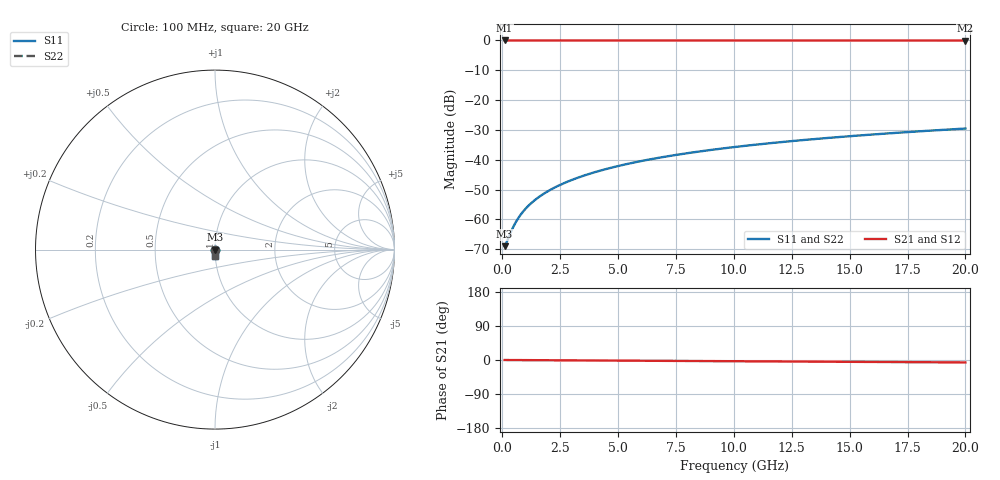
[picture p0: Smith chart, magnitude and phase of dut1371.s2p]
! Touchstone file exported from HFSS 2026.1.0
!  File:  C:/ffzhzh/LocalFiles/Ansys_Project_Files/temp_train_TSV_1371_1783196262_51560.aedt
!  Generated:  04:19:06 AM Jul  5, 2026
!  Design:  TSV
!  Project:  temp_train_TSV_1371_1783196262_51560
! Variables:
!  h_bsmrdl = 2um
!  h_ox = 20um
!  h_rdl = 5um
!  h_sub = 66.02um
!  h_tmrdl = 5um
!  h_tsv = 66.02um
!  h_via = 3um
!  l_bsmrdl = 300um
!  l_sub = 410.1um
!  l_tmrdl = 200um
!  m_sub = 200um
!  pitch = 15.46um
!  r_tsv = 5.05um
!  s_tmrdl = 10um
!  w_bsmrdl = 18um
!  w_sub = 500um
!  w_tmrdl = 12um
!  x_tsv_center1 = 206um
!  x_tsv_center2 = 524um
!  x_tsv_center3 = 736um
!  x_tsv_center4 = 1054um
!  x_tsv_center5 = 1266um
!  x_tsv_center6 = 1584um
# GHz S MA R 50.000000
! Terminal data exported
! Port[1] = TSV1_1_T1
! Port[2] = TSV1_1_T2
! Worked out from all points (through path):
!   200 points, 100 MHz to 20 GHz, reference 50 ohm
!   highest |S21| = 0.00 dB at 100 MHz (marker M1); lowest = 0.0 dB at 20 GHz (marker M2)
!   lowest |S11| = -69.0 dB at 100 MHz (marker M3), VSWR 1.00, Z = 50 - j0.0105 ohm
!   |S11| at or under -10 dB: start of sweep to end of sweep
!   |S22| runs from -69.0 to -29.5 dB; largest |S21 - S12| = 4.1e-15
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0.1  0.0003563 -17.1  0.9997 -0.0  0.9997 -0.0  0.0003563 -17.1
! Gamma 0 0 0 0
! Port Impedance 50 0 50 0
0.2  0.0004275 -31.2  0.9996 -0.1  0.9996 -0.1  0.0004275 -31.2
0.4  0.0006514 -49.4  0.9996 -0.1  0.9996 -0.1  0.0006514 -49.4
0.5  0.0007838 -55.1  0.9995 -0.2  0.9995 -0.2  0.0007838 -55.1
0.7  0.001065 -63.0  0.9995 -0.2  0.9995 -0.2  0.001065 -63.0
0.8  0.00121 -65.7  0.9995 -0.3  0.9995 -0.3  0.00121 -65.7
1  0.001504 -69.8  0.9995 -0.3  0.9995 -0.3  0.001504 -69.8
1.3  0.001952 -73.7  0.9994 -0.4  0.9994 -0.4  0.001952 -73.7
1.7  0.002558 -76.8  0.9994 -0.6  0.9994 -0.6  0.002558 -76.8
2.2  0.003328 -79.1  0.9993 -0.7  0.9993 -0.7  0.003328 -79.1
2.8  0.004269 -80.8  0.9992 -0.9  0.9992 -0.9  0.004269 -80.8
3.5  0.005388 -82.1  0.9991 -1.2  0.9991 -1.2  0.005388 -82.1
4.2  0.006528 -83.0  0.999 -1.4  0.999 -1.4  0.006528 -83.0
5  0.00785 -83.9  0.9989 -1.6  0.9989 -1.6  0.00785 -83.9
5.9  0.009355 -84.8  0.9988 -1.9  0.9988 -1.9  0.009355 -84.8
6.8  0.01087 -85.5  0.9987 -2.2  0.9987 -2.2  0.01087 -85.5
8.3  0.01341 -86.7  0.9985 -2.7  0.9985 -2.7  0.01341 -86.7
10.1  0.01648 -87.9  0.9983 -3.3  0.9983 -3.3  0.01648 -87.9
11.7  0.0192 -88.8  0.9982 -3.8  0.9982 -3.8  0.0192 -88.8
13.4  0.0221 -89.7  0.998 -4.3  0.998 -4.3  0.0221 -89.7
16.7  0.02774 -91.3  0.9976 -5.4  0.9976 -5.4  0.02774 -91.3
20  0.0334 -92.6  0.9972 -6.4  0.9972 -6.4  0.0334 -92.6
